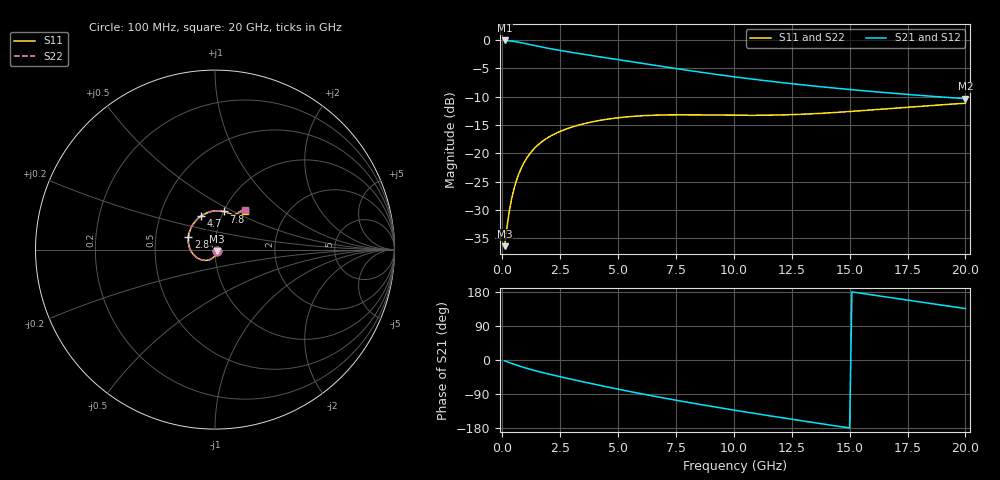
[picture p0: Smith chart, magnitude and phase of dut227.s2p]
! Touchstone file exported from HFSS 2023.1.0
!  File:  D:/Users/fzz/RDL_TSV/temp_RDL_TSV_227_1778758233.aedt
!  Generated:  7:38:41 %x4E0B%x5348  5%x6708 14, 2026
!  Design:  RDL_TSV
!  Project:  temp_RDL_TSV_227_1778758233
!  Setup:  Setup1
!  Solution:  Sweep
! Variables:
!  dtsv = 20.84um
!  hbump = 3um
!  htsv = 79.79um
!  ldown = 623.16um
!  lrdl = 224.71um
!  p = 40
!  p1 = 53.16um
!  rhole = 10um
!  subl = 2768.32um
!  t = 450um
!  tdown = 4.72um
!  trdl = 3.39um
!  viad = 10um
!  wdown = 27.45um
!  wrdl = 14.69um
!  xbump = 18um
# GHz S MA R 50.000000
! Terminal data exported
! Port[1] = TM1_1_T1
! Port[2] = TM1_4_T1
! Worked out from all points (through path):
!   200 points, 100 MHz to 20 GHz, reference 50 ohm
!   highest |S21| = -0.11 dB at 100 MHz (marker M1); lowest = -10.4 dB at 20 GHz (marker M2)
!   group delay of S21, straight-line fit = 29.4 ps
!   lowest |S11| = -36.4 dB at 100 MHz (marker M3), VSWR 1.03, Z = 51.1 - j1.06 ohm
!   |S11| at or under -10 dB: start of sweep to end of sweep
!   |S22| runs from -36.4 to -11.1 dB; largest |S21 - S12| = 6.3e-14
!   S11 on the Smith chart (normalised r, x): 100 MHz: 1.02, -0.02; 2.8 GHz: 0.74, +0.11; 4.7 GHz: 0.80, +0.31; 7.8 GHz: 1.00, +0.45; 20 GHz: 1.25, +0.59
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0.1  0.01516 -42.9  0.987 -2.3  0.987 -2.3  0.01516 -42.9
! Gamma 0 0 0 0
! Port Impedance 50 0 50 0
0.2  0.02215 -69.7  0.984 -4.6  0.984 -4.6  0.02217 -69.7
0.3  0.03064 -85.2  0.9795 -6.8  0.9795 -6.8  0.03067 -85.1
0.4  0.03942 -96.0  0.974 -9.0  0.974 -9.0  0.03945 -96.0
0.6  0.05655 -112.3  0.9603 -13.2  0.9603 -13.2  0.05658 -112.3
0.9  0.07982 -131.2  0.9351 -19.1  0.9351 -19.1  0.07986 -131.3
1.2  0.09965 -147.1  0.9078 -24.5  0.9078 -24.5  0.09971 -147.2
1.6  0.1212 -165.2  0.8726 -31.0  0.8726 -31.0  0.1213 -165.3
2.1  0.1423 175.7  0.8333 -38.5  0.8333 -38.5  0.1424 175.7
2.8  0.1646 154.0  0.7867 -48.3  0.7867 -48.3  0.1648 153.9
3.5  0.1816 136.4  0.746 -57.7  0.746 -57.7  0.1819 136.3
4.7  0.2019 113.0  0.6833 -73.2  0.6833 -73.2  0.2023 112.9
5.7  0.2119 98.2  0.635 -85.5  0.635 -85.5  0.2123 98.2
6.8  0.2171 85.8  0.5862 -98.3  0.5862 -98.3  0.2175 85.8
7.8  0.2182 77.3  0.546 -109.4  0.546 -109.4  0.2186 77.4
8.9  0.2174 70.5  0.5068 -121.0  0.5068 -121.0  0.2177 70.7
10.1  0.2161 65.6  0.4696 -133.2  0.4696 -133.2  0.2165 65.8
11.7  0.2169 61.8  0.4281 -148.7  0.4281 -148.7  0.2174 62.2
13.4  0.2228 59.9  0.3924 -164.7  0.3924 -164.7  0.2236 60.4
15  0.2332 58.6  0.3647 -179.4  0.3647 -179.4  0.2343 59.1
16.7  0.2476 56.9  0.3402 165.2  0.3402 165.2  0.2491 57.5
20  0.2758 52.1  0.3027 135.8  0.3027 135.8  0.2781 52.7
